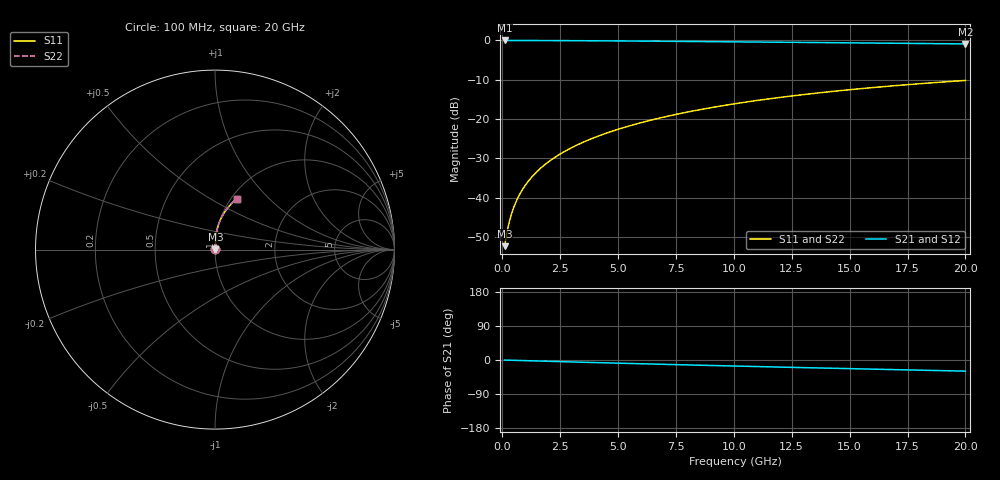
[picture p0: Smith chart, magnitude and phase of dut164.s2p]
! Touchstone file exported from HFSS 2024.1.0
!  File:  C:/UserFiles/LocalFiles/RDL_TSV_Batchsim/temp_RDL_top_164_1778685619.aedt
!  Generated:  11:22:33 PM May 13, 2026
!  Design:  RDL_top
!  Project:  temp_RDL_top_164_1778685619
!  Setup:  Setup1
!  Solution:  Sweep
! Variables:
!  dtsv = 10.80580581um
!  hbump = 3um
!  htsv = 94.29um
!  ldown = 100um
!  lrdl = 361.23um
!  p = 40
!  p1 = 59.1um
!  rhole = 1um
!  t = 450um
!  tdown = 3.915915916um
!  trdl = 3.35um
!  wdown = 15.38538539um
!  wrdl = 23.07um
# GHz S MA R 50.000000
! Terminal data exported
! Port[1] = Box2_T1
! Port[2] = Box2_T2
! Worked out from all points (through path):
!   200 points, 100 MHz to 20 GHz, reference 50 ohm
!   highest |S21| = -0.02 dB at 100 MHz (marker M1); lowest = -0.9 dB at 20 GHz (marker M2)
!   group delay of S21, straight-line fit = 4.04 ps
!   lowest |S11| = -52.3 dB at 100 MHz (marker M3), VSWR 1.00, Z = 50.2 + j0.154 ohm
!   |S11| at or under -10 dB: start of sweep to end of sweep
!   |S22| runs from -52.3 to -10.2 dB; largest |S21 - S12| = 2.1e-15
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0.1  0.002429 39.3  0.9981 -0.2  0.9981 -0.2  0.002429 39.3
! Gamma 0 0 0 0
! Port Impedance 50 0 50 0
0.2  0.003612 57.2  0.998 -0.4  0.998 -0.4  0.003612 57.2
0.3  0.004928 65.5  0.9979 -0.5  0.9979 -0.5  0.004928 65.5
0.4  0.006272 70.3  0.9978 -0.7  0.9978 -0.7  0.006272 70.3
0.5  0.007625 73.5  0.9977 -0.9  0.9977 -0.9  0.007625 73.5
0.6  0.008987 75.8  0.9976 -1.1  0.9976 -1.1  0.008987 75.8
0.8  0.01174 78.9  0.9973 -1.4  0.9973 -1.4  0.01174 78.9
1.1  0.01592 81.6  0.9969 -1.9  0.9969 -1.9  0.01592 81.6
1.5  0.02157 83.7  0.9963 -2.6  0.9963 -2.6  0.02157 83.7
1.8  0.02586 84.7  0.9957 -3.1  0.9957 -3.1  0.02586 84.7
2.1  0.03019 85.3  0.995 -3.6  0.995 -3.6  0.03019 85.3
2.7  0.03897 86.1  0.9933 -4.6  0.9933 -4.6  0.03897 86.1
3.5  0.05095 86.5  0.9906 -6.0  0.9906 -6.0  0.05095 86.5
4.2  0.06168 86.5  0.9879 -7.1  0.9879 -7.1  0.06168 86.5
5  0.07421 86.2  0.9844 -8.4  0.9844 -8.4  0.07421 86.2
5.9  0.0886 85.6  0.9802 -9.8  0.9802 -9.8  0.08859 85.6
6.8  0.1032 84.8  0.9757 -11.2  0.9757 -11.2  0.1032 84.8
8.4  0.1296 83.0  0.9674 -13.6  0.9674 -13.6  0.1296 83.0
10.1  0.1577 80.7  0.9583 -16.1  0.9583 -16.1  0.1577 80.7
13.4  0.2112 76.0  0.9402 -20.7  0.9402 -20.7  0.2112 76.0
16.7  0.2622 71.2  0.9215 -25.1  0.9215 -25.1  0.2622 71.2
20  0.3097 66.6  0.9022 -29.4  0.9022 -29.4  0.3097 66.6
